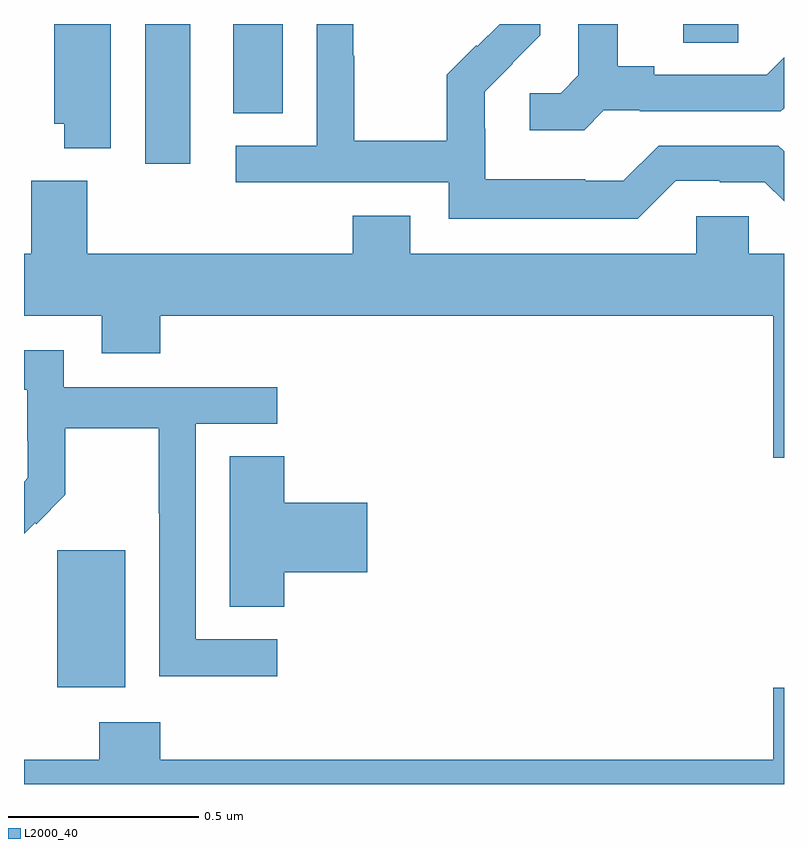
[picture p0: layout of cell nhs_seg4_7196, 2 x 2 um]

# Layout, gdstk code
import gdstk
lib = gdstk.Library(unit=1e-6, precision=1e-09)
def R(c, l, rs):  # rectangles x0, y0, x1, y1
    for r in rs: c.add(gdstk.rectangle(r[:2], r[2:], *l))
def P(c, l, *ps):  # polygons
    for p in ps: c.add(gdstk.Polygon(p, *l))
L2000_40 = (2000, 40)

nhs_seg4_7196 = lib.new_cell('nhs_seg4_7196')
R(nhs_seg4_7196, L2000_40, [(199.088,817.154,199.267,817.515), (199.319,818.532,199.438,818.9), (199.55,818.665,199.681,818.9), (200.735,818.851,200.88,818.9)])
P(nhs_seg4_7196, L2000_40, [(200.526,818.673),(200.62,818.673),(200.62,818.67),(200.992,818.67),(201,818.678),(201,818.812),(200.954,818.766),(200.659,818.766),(200.659,818.789),(200.563,818.789),(200.563,818.9),(200.459,818.9),(200.459,818.765),(200.412,818.718),(200.331,818.718),(200.331,818.621),(200.474,818.621)],
  [(200.715,818.487),(200.831,818.487),(200.831,818.484),(200.949,818.484),(201,818.433),(201,818.565),(200.985,818.58),(200.67,818.58),(200.577,818.487),(200.477,818.487),(200.477,818.491),(200.214,818.491),(200.214,818.625),(200.212,818.625),(200.212,818.722),(200.286,818.796),(200.285,818.797),(200.358,818.87),(200.358,818.9),(200.252,818.9),(200.193,818.841),(200.19,818.844),(200.113,818.767),(200.113,818.593),(199.869,818.593),(199.869,818.816),(199.866,818.816),(199.866,818.9),(199.77,818.9),(199.77,818.58),(199.557,818.58),(199.557,818.484),(200.118,818.484),(200.118,818.387),(200.615,818.387)],
  [(199.228,818.9),(199.079,818.9),(199.079,818.637),(199.106,818.637),(199.106,818.573),(199.228,818.573)],
  [(201,818.296),(200.907,818.296),(200.907,818.394),(200.769,818.394),(200.769,818.296),(200.017,818.296),(200.017,818.395),(199.865,818.395),(199.865,818.296),(199.167,818.296),(199.167,818.488),(199.019,818.488),(199.019,818.296),(199,818.296),(199,818.132),(199.205,818.132),(199.205,818.033),(199.358,818.033),(199.358,818.132),(200.972,818.132),(200.972,817.758),(201,817.758)],
  [(199.666,817.281),(199.452,817.281),(199.452,817.848),(199.666,817.848),(199.666,817.944),(199.104,817.944),(199.104,818.041),(199,818.041),(199,817.937),(199.008,817.937),(199.008,817.803),(199.01,817.803),(199.01,817.706),(199,817.696),(199,817.558),(199.029,817.587),(199.032,817.584),(199.109,817.661),(199.109,817.836),(199.354,817.836),(199.354,817.612),(199.356,817.612),(199.356,817.183),(199.666,817.183)],
  [(199.685,817.457),(199.903,817.457),(199.903,817.64),(199.685,817.64),(199.685,817.763),(199.541,817.763),(199.541,817.366),(199.685,817.366)],
  [(201,817.153),(200.972,817.153),(200.972,816.964),(199.358,816.964),(199.358,817.063),(199.198,817.063),(199.198,816.964),(199,816.964),(199,816.9),(201,816.9)])

lib.write_gds('nhs_seg4_7196.gds')
